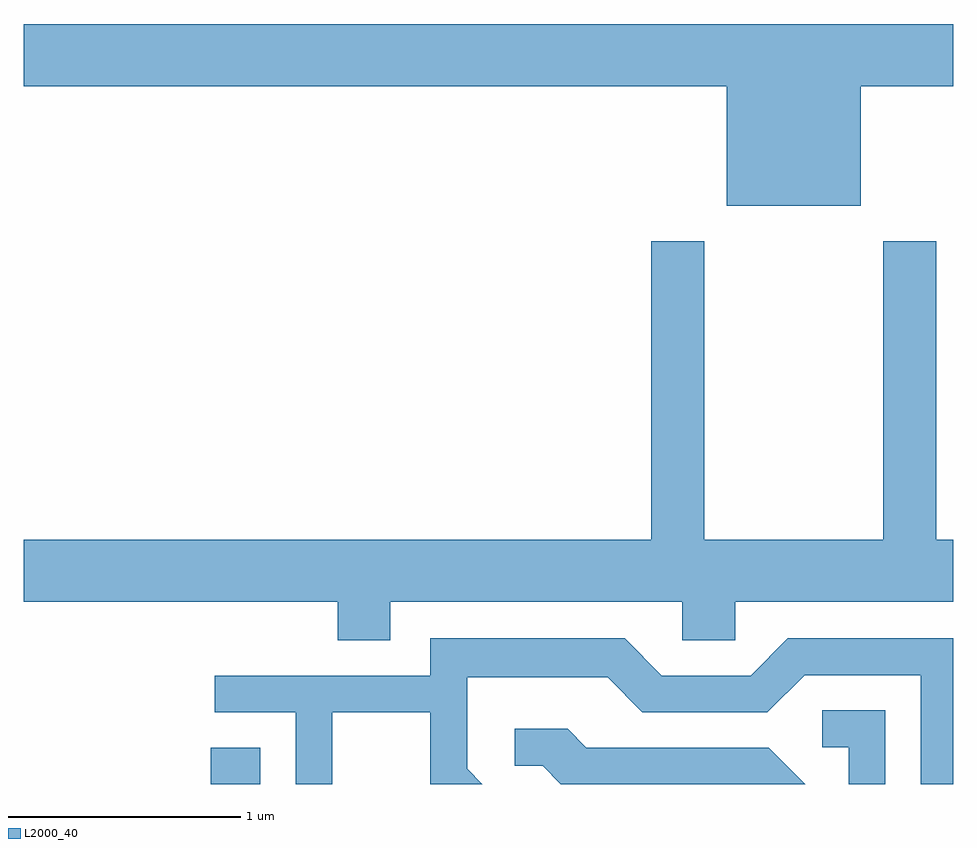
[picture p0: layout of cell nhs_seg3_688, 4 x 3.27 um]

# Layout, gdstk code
import gdstk
lib = gdstk.Library(unit=1e-6, precision=1e-09)
def R(c, l, rs):  # rectangles x0, y0, x1, y1
    for r in rs: c.add(gdstk.rectangle(r[:2], r[2:], *l))
def P(c, l, *ps):  # polygons
    for p in ps: c.add(gdstk.Polygon(p, *l))
L2000_40 = (2000, 40)

nhs_seg3_688 = lib.new_cell('nhs_seg3_688')
R(nhs_seg3_688, L2000_40, [(206.416,1131.892,206.629,1132.049)])
P(nhs_seg3_688, L2000_40, [(209.214,1134.896),(209.611,1134.896),(209.611,1135.164),(205.611,1135.164),(205.611,1134.896),(208.636,1134.896),(208.636,1134.381),(209.214,1134.381)],
  [(207.189,1132.676),(208.446,1132.676),(208.446,1132.511),(208.674,1132.511),(208.674,1132.676),(209.611,1132.676),(209.611,1132.944),(209.539,1132.944),(209.539,1134.229),(209.311,1134.229),(209.311,1132.944),(208.539,1132.944),(208.539,1134.229),(208.311,1134.229),(208.311,1132.944),(205.611,1132.944),(205.611,1132.676),(206.961,1132.676),(206.961,1132.511),(207.189,1132.511)],
  [(206.939,1132.201),(207.361,1132.201),(207.361,1131.892),(207.584,1131.892),(207.519,1131.957),(207.519,1132.351),(208.124,1132.351),(208.274,1132.201),(208.812,1132.201),(208.972,1132.361),(209.471,1132.361),(209.471,1131.892),(209.611,1131.892),(209.611,1132.519),(208.899,1132.519),(208.739,1132.359),(208.357,1132.359),(208.197,1132.519),(207.361,1132.519),(207.361,1132.359),(206.433,1132.359),(206.433,1132.201),(206.781,1132.201),(206.781,1131.892),(206.939,1131.892)],
  [(209.319,1132.209),(209.048,1132.209),(209.048,1132.051),(209.161,1132.051),(209.161,1131.892),(209.319,1131.892)],
  [(208.817,1132.049),(208.032,1132.049),(207.952,1132.129),(207.723,1132.129),(207.723,1131.971),(207.844,1131.971),(207.923,1131.892),(208.974,1131.892)])

lib.write_gds('nhs_seg3_688.gds')
